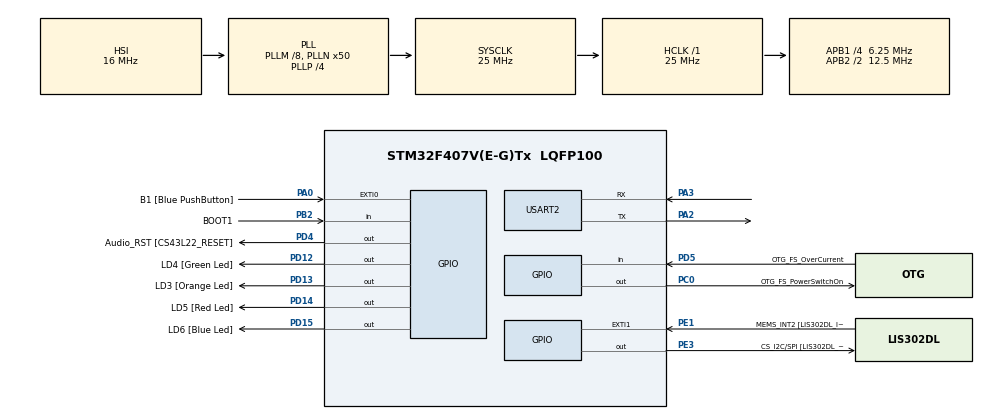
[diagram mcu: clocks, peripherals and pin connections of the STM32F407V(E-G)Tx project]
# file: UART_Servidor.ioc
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Dma.Request0=USART2_RX
Dma.Request1=USART2_TX
Dma.USART2_RX.0.Direction=DMA_PERIPH_TO_MEMORY
Dma.USART2_RX.0.FIFOMode=DMA_FIFOMODE_DISABLE
Dma.USART2_RX.0.Instance=DMA1_Stream5
Dma.USART2_RX.0.MemDataAlignment=DMA_MDATAALIGN_BYTE
Dma.USART2_RX.0.MemInc=DMA_MINC_ENABLE
Dma.USART2_RX.0.Mode=DMA_NORMAL
Dma.USART2_RX.0.PeriphDataAlignment=DMA_PDATAALIGN_BYTE
Dma.USART2_RX.0.PeriphInc=DMA_PINC_DISABLE
Dma.USART2_RX.0.Priority=DMA_PRIORITY_HIGH
Dma.USART2_TX.1.Direction=DMA_MEMORY_TO_PERIPH
Dma.USART2_TX.1.FIFOMode=DMA_FIFOMODE_DISABLE
Dma.USART2_TX.1.Instance=DMA1_Stream6
Dma.USART2_TX.1.MemDataAlignment=DMA_MDATAALIGN_BYTE
Dma.USART2_TX.1.MemInc=DMA_MINC_ENABLE
Dma.USART2_TX.1.Mode=DMA_NORMAL
Dma.USART2_TX.1.PeriphDataAlignment=DMA_PDATAALIGN_BYTE
Dma.USART2_TX.1.PeriphInc=DMA_PINC_DISABLE
Dma.USART2_TX.1.Priority=DMA_PRIORITY_MEDIUM
Mcu.Family=STM32F4
Mcu.Name=STM32F407V(E-G)Tx
Mcu.Package=LQFP100
NVIC.DMA1_Stream5_IRQn=true\:0\:0\:false\:false\:true\:false\:true\:true
NVIC.DMA1_Stream6_IRQn=true\:0\:0\:false\:false\:true\:false\:true\:true
NVIC.EXTI0_IRQn=true\:0\:0\:false\:false\:true\:true\:true\:true
NVIC.PriorityGroup=NVIC_PRIORITYGROUP_0
NVIC.USART2_IRQn=true\:0\:0\:false\:false\:true\:true\:true\:true
PA0-WKUP.GPIO_Label=B1 [Blue PushButton]
PA0-WKUP.Signal=GPXTI0
PA10.GPIO_Label=OTG_FS_ID
PA10.GPIO_Mode=GPIO_MODE_AF_PP
PA10.GPIO_PuPd=GPIO_NOPULL
PA10.GPIO_Speed=GPIO_SPEED_FREQ_LOW
PA10.Signal=USB_OTG_FS_ID
PA11.GPIO_Label=OTG_FS_DM
PA11.GPIO_Mode=GPIO_MODE_AF_PP
PA11.GPIO_PuPd=GPIO_NOPULL
PA11.GPIO_Speed=GPIO_SPEED_FREQ_LOW
PA11.Signal=USB_OTG_FS_DM
PA12.GPIO_Label=OTG_FS_DP
PA12.GPIO_Mode=GPIO_MODE_AF_PP
PA12.GPIO_PuPd=GPIO_NOPULL
PA12.GPIO_Speed=GPIO_SPEED_FREQ_LOW
PA12.Signal=USB_OTG_FS_DP
PA13.GPIO_Label=SWDIO
PA13.Mode=Serial_Wire
PA13.Signal=SYS_JTMS-SWDIO
PA14.GPIO_Label=SWCLK
PA14.Mode=Serial_Wire
PA14.Signal=SYS_JTCK-SWCLK
PA2.Mode=Asynchronous
PA2.Signal=USART2_TX
PA3.Mode=Asynchronous
PA3.Signal=USART2_RX
PA4.GPIO_Label=I2S3_WS [CS43L22_LRCK]
PA4.GPIO_Mode=GPIO_MODE_AF_PP
PA4.GPIO_PuPd=GPIO_NOPULL
PA4.GPIO_Speed=GPIO_SPEED_FREQ_LOW
PA4.Signal=I2S3_WS
PA5.GPIO_Label=SPI1_SCK [LIS302DL_SCL/SPC]
PA5.GPIO_Mode=GPIO_MODE_AF_PP
PA5.GPIO_PuPd=GPIO_NOPULL
PA5.GPIO_Speed=GPIO_SPEED_FREQ_LOW
PA5.Signal=SPI1_SCK
PA6.GPIO_Label=SPI1_MISO [LIS302DL_SDO]
PA6.GPIO_Mode=GPIO_MODE_AF_PP
PA6.GPIO_PuPd=GPIO_NOPULL
PA6.GPIO_Speed=GPIO_SPEED_FREQ_LOW
PA6.Signal=SPI1_MISO
PA7.GPIO_Label=SPI1_MOSI [LIS302DL_SDA/SDI/SDO]
PA7.GPIO_Mode=GPIO_MODE_AF_PP
PA7.GPIO_PuPd=GPIO_NOPULL
PA7.GPIO_Speed=GPIO_SPEED_FREQ_LOW
PA7.Signal=SPI1_MOSI
PA9.GPIO_Label=VBUS_FS
PA9.GPIO_Mode=GPIO_MODE_INPUT
PA9.GPIO_PuPd=GPIO_NOPULL
PA9.Signal=USB_OTG_FS_VBUS
PB10.GPIO_Label=CLK_IN [MP45DT02_CLK]
PB10.GPIO_Mode=GPIO_MODE_AF_PP
PB10.GPIO_PuPd=GPIO_NOPULL
PB10.GPIO_Speed=GPIO_SPEED_FREQ_LOW
PB10.Signal=I2S2_CK
PB2.GPIO_Label=BOOT1
PB2.GPIO_Mode=GPIO_MODE_INPUT
PB2.GPIO_PuPd=GPIO_NOPULL
PB2.Signal=GPIO_Input
PB3.GPIO_Label=SWO
PB3.Signal=SYS_JTDO-SWO
PB6.GPIO_Label=Audio_SCL [CS43L22_SCL]
PB6.GPIO_Mode=GPIO_MODE_AF_OD
PB6.GPIO_PuPd=GPIO_NOPULL
PB6.GPIO_Speed=GPIO_SPEED_FREQ_LOW
PB6.Signal=I2C1_SCL
PB9.GPIO_Label=Audio_SDA [CS43L22_SDA]
PB9.GPIO_Mode=GPIO_MODE_AF_OD
PB9.GPIO_PuPd=GPIO_NOPULL
PB9.GPIO_Speed=GPIO_SPEED_FREQ_LOW
PB9.Signal=I2C1_SDA
PC0.GPIO_Label=OTG_FS_PowerSwitchOn
PC0.GPIO_PuPd=GPIO_NOPULL
PC0.GPIO_Speed=GPIO_SPEED_FREQ_LOW
PC0.PinState=GPIO_PIN_SET
PC0.Signal=GPIO_Output
PC10.GPIO_Label=I2S3_SCK [CS43L22_SCLK]
PC10.GPIO_Mode=GPIO_MODE_AF_PP
PC10.GPIO_PuPd=GPIO_NOPULL
PC10.GPIO_Speed=GPIO_SPEED_FREQ_LOW
PC10.Signal=I2S3_CK
PC12.GPIO_Label=I2S3_SD [CS43L22_SDIN]
PC12.GPIO_Mode=GPIO_MODE_AF_PP
PC12.GPIO_PuPd=GPIO_NOPULL
PC12.GPIO_Speed=GPIO_SPEED_FREQ_LOW
PC12.Signal=I2S3_SD
PC14-OSC32_IN.GPIO_Label=PC14-OSC32_IN
PC14-OSC32_IN.Signal=RCC_OSC32_IN
PC15-OSC32_OUT.GPIO_Label=PC15-OSC32_OUT
PC15-OSC32_OUT.Signal=RCC_OSC32_OUT
PC3.GPIO_Label=PDM_OUT [MP45DT02_DOUT]
PC3.GPIO_Mode=GPIO_MODE_AF_PP
PC3.GPIO_PuPd=GPIO_NOPULL
PC3.GPIO_Speed=GPIO_SPEED_FREQ_LOW
PC3.Signal=I2S2_SD
PC7.GPIO_Label=I2S3_MCK [CS43L22_MCLK]
PC7.GPIO_Mode=GPIO_MODE_AF_PP
PC7.GPIO_PuPd=GPIO_NOPULL
PC7.GPIO_Speed=GPIO_SPEED_FREQ_LOW
PC7.Signal=I2S3_MCK
PD12.GPIO_Label=LD4 [Green Led]
PD12.GPIO_PuPd=GPIO_NOPULL
PD12.GPIO_Speed=GPIO_SPEED_FREQ_LOW
PD12.Signal=GPIO_Output
PD13.GPIO_Label=LD3 [Orange Led]
PD13.GPIO_PuPd=GPIO_NOPULL
PD13.GPIO_Speed=GPIO_SPEED_FREQ_LOW
PD13.Signal=GPIO_Output
PD14.GPIO_Label=LD5 [Red Led]
PD14.GPIO_PuPd=GPIO_NOPULL
PD14.GPIO_Speed=GPIO_SPEED_FREQ_LOW
PD14.Signal=GPIO_Output
PD15.GPIO_Label=LD6 [Blue Led]
PD15.GPIO_PuPd=GPIO_NOPULL
PD15.GPIO_Speed=GPIO_SPEED_FREQ_LOW
PD15.Signal=GPIO_Output
PD4.GPIO_Label=Audio_RST [CS43L22_RESET]
PD4.GPIO_PuPd=GPIO_NOPULL
PD4.GPIO_Speed=GPIO_SPEED_FREQ_LOW
PD4.Signal=GPIO_Output
PD5.GPIO_Label=OTG_FS_OverCurrent
PD5.GPIO_Mode=GPIO_MODE_INPUT
PD5.GPIO_PuPd=GPIO_NOPULL
PD5.Signal=GPIO_Input
PE1.GPIO_Label=MEMS_INT2 [LIS302DL_INT2]
PE1.GPIO_ModeDefaultEXTI=GPIO_MODE_EVT_RISING
PE1.GPIO_PuPd=GPIO_NOPULL
PE1.Signal=GPXTI1
PE3.GPIO_Label=CS_I2C/SPI [LIS302DL_CS_I2C/SPI]
PE3.GPIO_PuPd=GPIO_NOPULL
PE3.GPIO_Speed=GPIO_SPEED_FREQ_LOW
PE3.Signal=GPIO_Output
PH0-OSC_IN.GPIO_Label=PH0-OSC_IN
PH0-OSC_IN.Signal=RCC_OSC_IN
PH1-OSC_OUT.GPIO_Label=PH1-OSC_OUT
PH1-OSC_OUT.Signal=RCC_OSC_OUT
ProjectManager.HeapSize=0x200
ProjectManager.StackSize=0x400
ProjectManager.TargetToolchain=STM32CubeIDE
RCC.48MHZClocksFreq_Value=14285714.285714285
RCC.AHBFreq_Value=25000000
RCC.APB1CLKDivider=RCC_HCLK_DIV4
RCC.APB1Freq_Value=6250000
RCC.APB1TimFreq_Value=12500000
RCC.APB2CLKDivider=RCC_HCLK_DIV2
RCC.APB2Freq_Value=12500000
RCC.APB2TimFreq_Value=25000000
RCC.CortexFreq_Value=25000000
RCC.HCLKFreq_Value=25000000
RCC.HSE_VALUE=8000000
RCC.HSI_VALUE=16000000
RCC.LSE_VALUE=32768
RCC.PLLM=8
RCC.PLLN=50
RCC.PLLP=RCC_PLLP_DIV4
RCC.PLLQ=7
RCC.SYSCLKFreq_VALUE=25000000
RCC.SYSCLKSource=RCC_SYSCLKSOURCE_PLLCLK
RCC.VCOOutputFreq_Value=100000000
USART2.VirtualMode=VM_ASYNC
board=STM32F407G-DISC1

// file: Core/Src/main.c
/* USER CODE BEGIN Header */
/**
  ******************************************************************************
  * @file           : main.c
  * @brief          : Main program body
  ******************************************************************************
  * @attention
  *
  * Copyright (c) 2026 STMicroelectronics.
  * All rights reserved.
  *
  * This software is licensed under terms that can be found in the LICENSE file
  * in the root directory of this software component.
  * If no LICENSE file comes with this software, it is provided AS-IS.
  *
  ******************************************************************************
  */
/* USER CODE END Header */
#include "main.h"

/* USER CODE BEGIN Includes */
#include <string.h>
#include <stdint.h>
/* USER CODE END Includes */

UART_HandleTypeDef huart2;
DMA_HandleTypeDef hdma_usart2_rx;
DMA_HandleTypeDef hdma_usart2_tx;

/* USER CODE BEGIN PV */
#define CMD_REQUEST 0x5A
#define CMD_READY   0xA5
#define TABLE_SIZE  160

typedef enum {
    SERVER_WAIT_CMD,
    SERVER_SEND_COUNT,
    SERVER_WAIT_ACK,
    SERVER_SEND_TABLE
} ServerState;

volatile ServerState serverState = SERVER_WAIT_CMD;

volatile uint8_t counter = 0;
uint8_t counterSnapshot = 0;

uint8_t rxByte;
uint8_t tableBuffer[TABLE_SIZE];

uint32_t lastButtonTick = 0;
/* USER CODE END PV */

void SystemClock_Config(void);
static void MX_GPIO_Init(void);
static void MX_DMA_Init(void);
static void MX_USART2_UART_Init(void);

int main(void)
{

  /* MCU Configuration--------------------------------------------------------*/

  /* Reset of all peripherals, Initializes the Flash interface and the Systick. */
  HAL_Init();

  /* Configure the system clock */
  SystemClock_Config();

  /* Initialize all configured peripherals */
  MX_GPIO_Init();
  MX_DMA_Init();
  MX_USART2_UART_Init();
  /* USER CODE BEGIN 2 */
  const char *members =
      "TABELA DE MEMBROS\r\n"
      "Nome1 - Matricula1\r\n"
      "Nome2 - Matricula2\r\n"
      "Nome3 - Matricula3\r\n";

  memset(tableBuffer, ' ', TABLE_SIZE);

  size_t len = strlen(members);

  if (len > TABLE_SIZE - 2) {
      len = TABLE_SIZE - 2;
  }

  memcpy(tableBuffer, members, len);

  tableBuffer[TABLE_SIZE - 2] = '\r';
  tableBuffer[TABLE_SIZE - 1] = '\n';

  // Inicia recepcao por interrupcao
  if (HAL_UART_Receive_IT(&huart2, &rxByte, 1) != HAL_OK) {
      Error_Handler();
  }
  /* USER CODE END 2 */

  /* Infinite loop */
  while (1)
  {

  }
}

void SystemClock_Config(void)
{
  RCC_OscInitTypeDef RCC_OscInitStruct = {0};
  RCC_ClkInitTypeDef RCC_ClkInitStruct = {0};

  /** Configure the main internal regulator output voltage
  */
  __HAL_RCC_PWR_CLK_ENABLE();
  __HAL_PWR_VOLTAGESCALING_CONFIG(PWR_REGULATOR_VOLTAGE_SCALE1);

  /** Initializes the RCC Oscillators according to the specified parameters
  * in the RCC_OscInitTypeDef structure.
  */
  RCC_OscInitStruct.OscillatorType = RCC_OSCILLATORTYPE_HSI;
  RCC_OscInitStruct.HSIState = RCC_HSI_ON;
  RCC_OscInitStruct.HSICalibrationValue = RCC_HSICALIBRATION_DEFAULT;
  RCC_OscInitStruct.PLL.PLLState = RCC_PLL_ON;
  RCC_OscInitStruct.PLL.PLLSource = RCC_PLLSOURCE_HSI;
  RCC_OscInitStruct.PLL.PLLM = 8;
  RCC_OscInitStruct.PLL.PLLN = 50;
  RCC_OscInitStruct.PLL.PLLP = RCC_PLLP_DIV4;
  RCC_OscInitStruct.PLL.PLLQ = 7;
  if (HAL_RCC_OscConfig(&RCC_OscInitStruct) != HAL_OK)
  {
    Error_Handler();
  }

  /** Initializes the CPU, AHB and APB buses clocks
  */
  RCC_ClkInitStruct.ClockType = RCC_CLOCKTYPE_HCLK|RCC_CLOCKTYPE_SYSCLK
                              |RCC_CLOCKTYPE_PCLK1|RCC_CLOCKTYPE_PCLK2;
  RCC_ClkInitStruct.SYSCLKSource = RCC_SYSCLKSOURCE_PLLCLK;
  RCC_ClkInitStruct.AHBCLKDivider = RCC_SYSCLK_DIV1;
  RCC_ClkInitStruct.APB1CLKDivider = RCC_HCLK_DIV4;
  RCC_ClkInitStruct.APB2CLKDivider = RCC_HCLK_DIV2;

  if (HAL_RCC_ClockConfig(&RCC_ClkInitStruct, FLASH_LATENCY_0) != HAL_OK)
  {
    Error_Handler();
  }
}

static void MX_USART2_UART_Init(void)
{

  huart2.Instance = USART2;
  huart2.Init.BaudRate = 115200;
  huart2.Init.WordLength = UART_WORDLENGTH_8B;
  huart2.Init.StopBits = UART_STOPBITS_1;
  huart2.Init.Parity = UART_PARITY_NONE;
  huart2.Init.Mode = UART_MODE_TX_RX;
  huart2.Init.HwFlowCtl = UART_HWCONTROL_NONE;
  huart2.Init.OverSampling = UART_OVERSAMPLING_16;
  if (HAL_UART_Init(&huart2) != HAL_OK)
  {
    Error_Handler();
  }

}

static void MX_DMA_Init(void)
{

  /* DMA controller clock enable */
  __HAL_RCC_DMA1_CLK_ENABLE();

  /* DMA interrupt init */
  /* DMA1_Stream5_IRQn interrupt configuration */
  HAL_NVIC_SetPriority(DMA1_Stream5_IRQn, 0, 0);
  HAL_NVIC_EnableIRQ(DMA1_Stream5_IRQn);
  /* DMA1_Stream6_IRQn interrupt configuration */
  HAL_NVIC_SetPriority(DMA1_Stream6_IRQn, 0, 0);
  HAL_NVIC_EnableIRQ(DMA1_Stream6_IRQn);

}

static void MX_GPIO_Init(void)
{
  GPIO_InitTypeDef GPIO_InitStruct = {0};

  /* GPIO Ports Clock Enable */
  __HAL_RCC_GPIOE_CLK_ENABLE();
  __HAL_RCC_GPIOC_CLK_ENABLE();
  __HAL_RCC_GPIOH_CLK_ENABLE();
  __HAL_RCC_GPIOA_CLK_ENABLE();
  __HAL_RCC_GPIOB_CLK_ENABLE();
  __HAL_RCC_GPIOD_CLK_ENABLE();

  /*Configure GPIO pin Output Level */
  HAL_GPIO_WritePin(CS_I2C_SPI_GPIO_Port, CS_I2C_SPI_Pin, GPIO_PIN_RESET);

  /*Configure GPIO pin Output Level */
  HAL_GPIO_WritePin(OTG_FS_PowerSwitchOn_GPIO_Port, OTG_FS_PowerSwitchOn_Pin, GPIO_PIN_SET);

  /*Configure GPIO pin Output Level */
  HAL_GPIO_WritePin(GPIOD, LD4_Pin|LD3_Pin|LD5_Pin|LD6_Pin
                          |Audio_RST_Pin, GPIO_PIN_RESET);

  /*Configure GPIO pin : CS_I2C_SPI_Pin */
  GPIO_InitStruct.Pin = CS_I2C_SPI_Pin;
  GPIO_InitStruct.Mode = GPIO_MODE_OUTPUT_PP;
  GPIO_InitStruct.Pull = GPIO_NOPULL;
  GPIO_InitStruct.Speed = GPIO_SPEED_FREQ_LOW;
  HAL_GPIO_Init(CS_I2C_SPI_GPIO_Port, &GPIO_InitStruct);

  /*Configure GPIO pin : OTG_FS_PowerSwitchOn_Pin */
  GPIO_InitStruct.Pin = OTG_FS_PowerSwitchOn_Pin;
  GPIO_InitStruct.Mode = GPIO_MODE_OUTPUT_PP;
  GPIO_InitStruct.Pull = GPIO_NOPULL;
  GPIO_InitStruct.Speed = GPIO_SPEED_FREQ_LOW;
  HAL_GPIO_Init(OTG_FS_PowerSwitchOn_GPIO_Port, &GPIO_InitStruct);

  /*Configure GPIO pin : PDM_OUT_Pin */
  GPIO_InitStruct.Pin = PDM_OUT_Pin;
  GPIO_InitStruct.Mode = GPIO_MODE_AF_PP;
  GPIO_InitStruct.Pull = GPIO_NOPULL;
  GPIO_InitStruct.Speed = GPIO_SPEED_FREQ_LOW;
  GPIO_InitStruct.Alternate = GPIO_AF5_SPI2;
  HAL_GPIO_Init(PDM_OUT_GPIO_Port, &GPIO_InitStruct);

  /*Configure GPIO pin : B1_Pin */
  GPIO_InitStruct.Pin = B1_Pin;
  GPIO_InitStruct.Mode = GPIO_MODE_IT_RISING;
  GPIO_InitStruct.Pull = GPIO_NOPULL;
  HAL_GPIO_Init(B1_GPIO_Port, &GPIO_InitStruct);

  /*Configure GPIO pin : I2S3_WS_Pin */
  GPIO_InitStruct.Pin = I2S3_WS_Pin;
  GPIO_InitStruct.Mode = GPIO_MODE_AF_PP;
  GPIO_InitStruct.Pull = GPIO_NOPULL;
  GPIO_InitStruct.Speed = GPIO_SPEED_FREQ_LOW;
  GPIO_InitStruct.Alternate = GPIO_AF6_SPI3;
  HAL_GPIO_Init(I2S3_WS_GPIO_Port, &GPIO_InitStruct);

  /*Configure GPIO pins : SPI1_SCK_Pin SPI1_MISO_Pin SPI1_MOSI_Pin */
  GPIO_InitStruct.Pin = SPI1_SCK_Pin|SPI1_MISO_Pin|SPI1_MOSI_Pin;
  GPIO_InitStruct.Mode = GPIO_MODE_AF_PP;
  GPIO_InitStruct.Pull = GPIO_NOPULL;
  GPIO_InitStruct.Speed = GPIO_SPEED_FREQ_LOW;
  GPIO_InitStruct.Alternate = GPIO_AF5_SPI1;
  HAL_GPIO_Init(GPIOA, &GPIO_InitStruct);

  /*Configure GPIO pin : BOOT1_Pin */
  GPIO_InitStruct.Pin = BOOT1_Pin;
  GPIO_InitStruct.Mode = GPIO_MODE_INPUT;
  GPIO_InitStruct.Pull = GPIO_NOPULL;
  HAL_GPIO_Init(BOOT1_GPIO_Port, &GPIO_InitStruct);

  /*Configure GPIO pin : CLK_IN_Pin */
  GPIO_InitStruct.Pin = CLK_IN_Pin;
  GPIO_InitStruct.Mode = GPIO_MODE_AF_PP;
  GPIO_InitStruct.Pull = GPIO_NOPULL;
  GPIO_InitStruct.Speed = GPIO_SPEED_FREQ_LOW;
  GPIO_InitStruct.Alternate = GPIO_AF5_SPI2;
  HAL_GPIO_Init(CLK_IN_GPIO_Port, &GPIO_InitStruct);

  /*Configure GPIO pins : LD4_Pin LD3_Pin LD5_Pin LD6_Pin
                           Audio_RST_Pin */
  GPIO_InitStruct.Pin = LD4_Pin|LD3_Pin|LD5_Pin|LD6_Pin
                          |Audio_RST_Pin;
  GPIO_InitStruct.Mode = GPIO_MODE_OUTPUT_PP;
  GPIO_InitStruct.Pull = GPIO_NOPULL;
  GPIO_InitStruct.Speed = GPIO_SPEED_FREQ_LOW;
  HAL_GPIO_Init(GPIOD, &GPIO_InitStruct);

  /*Configure GPIO pins : I2S3_MCK_Pin I2S3_SCK_Pin I2S3_SD_Pin */
  GPIO_InitStruct.Pin = I2S3_MCK_Pin|I2S3_SCK_Pin|I2S3_SD_Pin;
  GPIO_InitStruct.Mode = GPIO_MODE_AF_PP;
  GPIO_InitStruct.Pull = GPIO_NOPULL;
  GPIO_InitStruct.Speed = GPIO_SPEED_FREQ_LOW;
  GPIO_InitStruct.Alternate = GPIO_AF6_SPI3;
  HAL_GPIO_Init(GPIOC, &GPIO_InitStruct);

  /*Configure GPIO pin : VBUS_FS_Pin */
  GPIO_InitStruct.Pin = VBUS_FS_Pin;
  GPIO_InitStruct.Mode = GPIO_MODE_INPUT;
  GPIO_InitStruct.Pull = GPIO_NOPULL;
  HAL_GPIO_Init(VBUS_FS_GPIO_Port, &GPIO_InitStruct);

  /*Configure GPIO pins : OTG_FS_ID_Pin OTG_FS_DM_Pin OTG_FS_DP_Pin */
  GPIO_InitStruct.Pin = OTG_FS_ID_Pin|OTG_FS_DM_Pin|OTG_FS_DP_Pin;
  GPIO_InitStruct.Mode = GPIO_MODE_AF_PP;
  GPIO_InitStruct.Pull = GPIO_NOPULL;
  GPIO_InitStruct.Speed = GPIO_SPEED_FREQ_LOW;
  GPIO_InitStruct.Alternate = GPIO_AF10_OTG_FS;
  HAL_GPIO_Init(GPIOA, &GPIO_InitStruct);

  /*Configure GPIO pin : OTG_FS_OverCurrent_Pin */
  GPIO_InitStruct.Pin = OTG_FS_OverCurrent_Pin;
  GPIO_InitStruct.Mode = GPIO_MODE_INPUT;
  GPIO_InitStruct.Pull = GPIO_NOPULL;
  HAL_GPIO_Init(OTG_FS_OverCurrent_GPIO_Port, &GPIO_InitStruct);

  /*Configure GPIO pins : Audio_SCL_Pin Audio_SDA_Pin */
  GPIO_InitStruct.Pin = Audio_SCL_Pin|Audio_SDA_Pin;
  GPIO_InitStruct.Mode = GPIO_MODE_AF_OD;
  GPIO_InitStruct.Pull = GPIO_NOPULL;
  GPIO_InitStruct.Speed = GPIO_SPEED_FREQ_LOW;
  GPIO_InitStruct.Alternate = GPIO_AF4_I2C1;
  HAL_GPIO_Init(GPIOB, &GPIO_InitStruct);

  /*Configure GPIO pin : MEMS_INT2_Pin */
  GPIO_InitStruct.Pin = MEMS_INT2_Pin;
  GPIO_InitStruct.Mode = GPIO_MODE_EVT_RISING;
  GPIO_InitStruct.Pull = GPIO_NOPULL;
  HAL_GPIO_Init(MEMS_INT2_GPIO_Port, &GPIO_InitStruct);

  /* EXTI interrupt init*/
  HAL_NVIC_SetPriority(EXTI0_IRQn, 0, 0);
  HAL_NVIC_EnableIRQ(EXTI0_IRQn);

}

/* USER CODE BEGIN 4 */
// Botao da Discovery incrementa o contador
void HAL_GPIO_EXTI_Callback(uint16_t GPIO_Pin)
{
    if (GPIO_Pin == GPIO_PIN_0)
    {
        uint32_t now = HAL_GetTick();

        // Debounce de 180 ms
        if ((now - lastButtonTick) >= 180)
        {
            lastButtonTick = now;

            if (counter < 255) {
                counter++;
            }
        }
    }
}

// Recepcao por interrupcao
void HAL_UART_RxCpltCallback(UART_HandleTypeDef *huart)
{
    if (huart->Instance != USART2) {
        return;
    }

    if (serverState == SERVER_WAIT_CMD &&
        rxByte == CMD_REQUEST)
    {
        counterSnapshot = counter;

        serverState = SERVER_SEND_COUNT;

        if (HAL_UART_Transmit_IT(
                &huart2,
                &counterSnapshot,
                1) != HAL_OK)
        {
            Error_Handler();
        }
    }
    else if (serverState == SERVER_WAIT_ACK &&
             rxByte == CMD_READY)
    {
        serverState = SERVER_SEND_TABLE;

        if (HAL_UART_Transmit_DMA(
                &huart2,
                tableBuffer,
                TABLE_SIZE) != HAL_OK)
        {
            Error_Handler();
        }
    }
    else
    {
        if (HAL_UART_Receive_IT(
                &huart2,
                &rxByte,
                1) != HAL_OK)
        {
            Error_Handler();
        }
    }
}

// Transmissao por interrupcao concluida
void HAL_UART_TxCpltCallback(UART_HandleTypeDef *huart)
{
    if (huart->Instance != USART2) {
        return;
    }

    if (serverState == SERVER_SEND_COUNT)
    {
        serverState = SERVER_WAIT_ACK;

        // Agora aguarda a confirmacao do cliente
        if (HAL_UART_Receive_IT(
                &huart2,
                &rxByte,
                1) != HAL_OK)
        {
            Error_Handler();
        }
    }
    else if (serverState == SERVER_SEND_TABLE)
    {
        // DMA terminou de transmitir a tabela
        counter = 0;
        serverState = SERVER_WAIT_CMD;

        // Aguarda nova solicitacao
        if (HAL_UART_Receive_IT(
                &huart2,
                &rxByte,
                1) != HAL_OK)
        {
            Error_Handler();
        }
    }
}
/* USER CODE END 4 */

void Error_Handler(void)
{
  __disable_irq();
  while (1)
  {
  }
}
